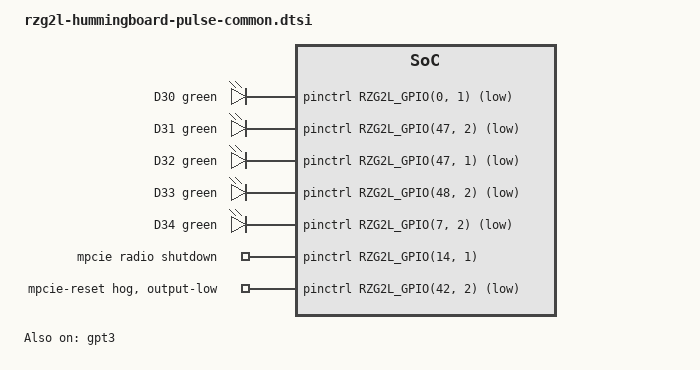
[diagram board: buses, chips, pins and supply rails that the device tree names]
// SPDX-License-Identifier: (GPL-2.0-only OR BSD-2-Clause)
/*
 * Copyright 2025 Josua Mayer <josua@solid-run.com>
 */

#include <dt-bindings/leds/common.h>

#include "rzg2-hummingboard-pulse-common.dtsi"

/ {
	aliases {
		/delete-property/ ethernet1;
	};

	leds {
		compatible = "gpio-leds";

		led-0 {
			label = "D30";
			color = <LED_COLOR_ID_GREEN>;
			gpios = <&pinctrl RZG2L_GPIO(0, 1) GPIO_ACTIVE_LOW>;
			default-state = "on";
		};

		led-1 {
			label = "D31";
			color = <LED_COLOR_ID_GREEN>;
			gpios = <&pinctrl RZG2L_GPIO(47, 2) GPIO_ACTIVE_LOW>;
			default-state = "on";
		};

		led-2 {
			label = "D32";
			color = <LED_COLOR_ID_GREEN>;
			gpios = <&pinctrl RZG2L_GPIO(47, 1) GPIO_ACTIVE_LOW>;
			default-state = "on";
		};

		led-3 {
			label = "D33";
			color = <LED_COLOR_ID_GREEN>;
			gpios = <&pinctrl RZG2L_GPIO(48, 2) GPIO_ACTIVE_LOW>;
			default-state = "on";
		};

		led-4 {
			label = "D34";
			color = <LED_COLOR_ID_GREEN>;
			gpios = <&pinctrl RZG2L_GPIO(7, 2) GPIO_ACTIVE_LOW>;
			default-state = "on";
		};
	};

	rfkill-mpcie-wifi {
		/*
		 * The mpcie connector only has USB,
		 * therefore this rfkill is for cellular radios only.
		 */
		compatible = "rfkill-gpio";
		label = "mpcie radio";
		radio-type = "wwan";
		/* rfkill-gpio inverts internally */
		shutdown-gpios = <&pinctrl RZG2L_GPIO(14, 1) GPIO_ACTIVE_HIGH>;
	};
};

&eth1 {
	/* this board does not use second phy / ethernet on SoM */
	status = "disabled";
};

&gpt3 {
	pinctrl-0 = <&mikro_pwm_pins>;
	pinctrl-names = "default";
	channel = "channel_A";
	status = "okay";
};

&hub_2_0 {
	reset-gpios = <&pinctrl RZG2L_GPIO(39, 1) GPIO_ACTIVE_LOW>;
};

&hub_3_0 {
	reset-gpios = <&pinctrl RZG2L_GPIO(39, 1) GPIO_ACTIVE_LOW>;
};

&pinctrl {
	pinctrl-names = "default";
	pinctrl-0 = <&mikro_int_pins>, <&mikro_rst_pins>;

	mpcie_rst_hog: mpcie-reset-hog {
		gpio-hog;
		gpios = <RZG2L_GPIO(42, 2) GPIO_ACTIVE_LOW>;
		output-low;
		line-name = "mpcie-reset";
	};

	mikro_int_pins: pinctrl-mikro-int-grp {
		pinmux = <RZG2L_PORT_PINMUX(41, 1, 0)>; /* P41_1 */
	};

	mikro_pwm_pins: pinctrl-mikro-pwm-grp {
		pinmux = <RZG2L_PORT_PINMUX(41, 0, 4)>; /* GTIOC3A */
	};

	mikro_rst_pins: pinctrl-mikro-rst-grp {
		pinmux = <RZG2L_PORT_PINMUX(45, 3, 0)>; /* P45_3 */
	};

	mikro_uart_pins: pinctrl-mikro-uart-grp {
		pinmux = <RZG2L_PORT_PINMUX(40, 1, 1)>, /* SCIF1_RXD */
			 <RZG2L_PORT_PINMUX(40, 0, 1)>; /* SCIF1_TXD */
	};
};

&usb2_phy1 {
	pinctrl-0 = <&usb1_vbus_pins>;
	pinctrl-names = "default";
};

&vmmc {
	gpio = <&pinctrl RZG2L_GPIO(4, 1) GPIO_ACTIVE_LOW>;
};

&vmpcie {
	gpio = <&pinctrl RZG2L_GPIO(17, 0) GPIO_ACTIVE_HIGH>;
};
